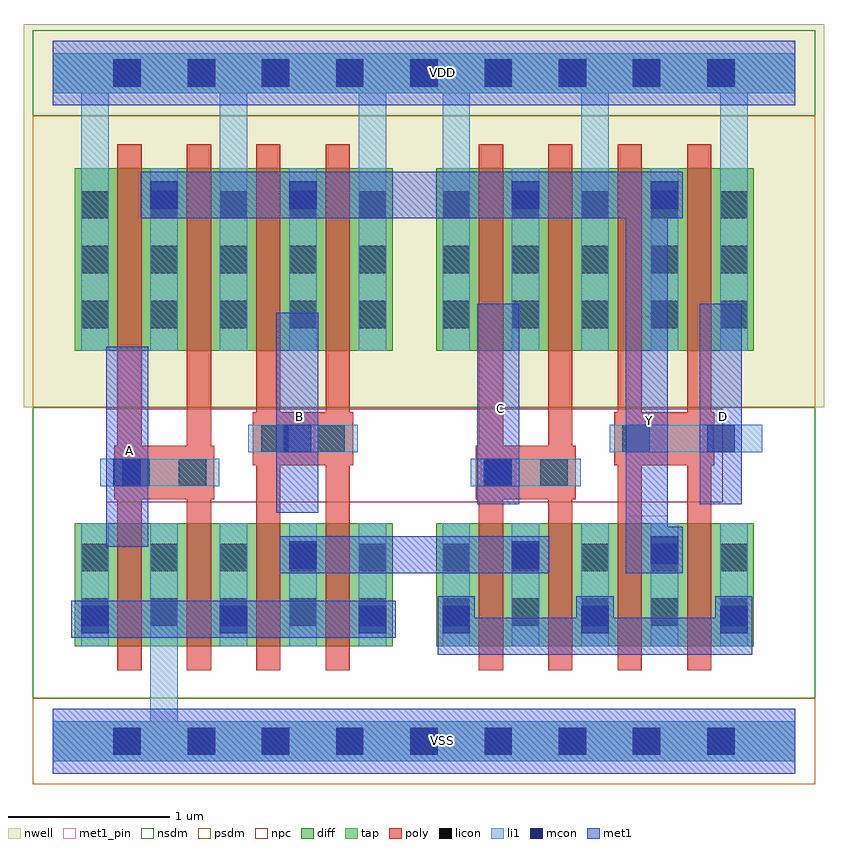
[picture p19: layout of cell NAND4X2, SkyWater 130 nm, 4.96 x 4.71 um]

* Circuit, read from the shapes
.subckt NAND4X2 A B C D VDD VSS Y
XM1 VSS A n1 VSS sky130_fd_pr__nfet_01v8 w=0.76 l=0.15 m=2
XM2 n2 B n1 VSS sky130_fd_pr__nfet_01v8 w=0.76 l=0.15 m=2
XM3 n2 C n3 VSS sky130_fd_pr__nfet_01v8 w=0.76 l=0.15 m=2
XM4 Y D n3 VSS sky130_fd_pr__nfet_01v8 w=0.76 l=0.15 m=2
XM5 Y A VDD VDD sky130_fd_pr__pfet_01v8 w=1.13 l=0.15 m=2
XM6 Y B VDD VDD sky130_fd_pr__pfet_01v8 w=1.13 l=0.15 m=2
XM7 Y C VDD VDD sky130_fd_pr__pfet_01v8 w=1.13 l=0.15 m=2
XM8 Y D VDD VDD sky130_fd_pr__pfet_01v8 w=1.13 l=0.15 m=2
.ends

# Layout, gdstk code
import gdstk
lib = gdstk.Library(unit=1e-6, precision=1e-09)
def R(c, l, rs):  # rectangles x0, y0, x1, y1
    for r in rs: c.add(gdstk.rectangle(r[:2], r[2:], *l))
def A(c, l, x, y, w, h, nx, ny, dx, dy):  # array of equal rectangles
    R(c, l, [(x+i*dx, y+j*dy, x+i*dx+w, y+j*dy+h) for i in range(nx) for j in range(ny)])
nwell = (64, 20)
diff = (65, 20)
tap = (65, 44)
poly = (66, 20)
licon = (66, 44)
li1 = (67, 20)
mcon = (67, 44)
met1_pin = (68, 16)
met1 = (68, 20)
nsdm = (93, 44)
psdm = (94, 20)
npc = (95, 20)

nfet_01v8_cdns_716492285 = lib.new_cell('nfet_01v8_CDNS_71649228522125')
R(nfet_01v8_cdns_716492285, diff, [(-0.055,0,0,0.76), (0,0,0.15,0.76), (0.15,0,0.43,0.76), (0.43,0,0.58,0.76), (0.58,0,0.845,0.76)])
R(nfet_01v8_cdns_716492285, poly, [(0,-0.15,0.15,-0.095), (0.43,-0.15,0.58,-0.095), (0,-0.095,0.15,0), (0.43,-0.095,0.58,0), (0,0,0.15,0.76), (0.43,0,0.58,0.76), (0,0.76,0.15,0.855), (0.43,0.76,0.58,0.855), (0,0.855,0.15,0.91), (0.43,0.855,0.58,0.91)])
R(nfet_01v8_cdns_716492285, licon, [(0.205,0.125,0.375,0.295), (0.635,0.125,0.805,0.295), (0.205,0.465,0.375,0.635), (0.635,0.465,0.805,0.635)])
R(nfet_01v8_cdns_716492285, li1, [(0.205,0,0.375,0.76), (0.635,0,0.805,0.76)])
R(nfet_01v8_cdns_716492285, nsdm, [(-0.065,-0.13,0.985,0.89)])

pfet_01v8_cdns_716492285 = lib.new_cell('pfet_01v8_CDNS_71649228522122')
R(pfet_01v8_cdns_716492285, nwell, [(-0.235,-0.18,1.025,1.31)])
R(pfet_01v8_cdns_716492285, diff, [(-0.055,0,0,1.13), (0,0,0.15,1.13), (0.15,0,0.43,1.13), (0.43,0,0.58,1.13), (0.58,0,0.845,1.13)])
R(pfet_01v8_cdns_716492285, poly, [(0,-0.15,0.15,-0.095), (0.43,-0.15,0.58,-0.095), (0,-0.095,0.15,0), (0.43,-0.095,0.58,0), (0,0,0.15,1.13), (0.43,0,0.58,1.13), (0,1.13,0.15,1.225), (0.43,1.13,0.58,1.225), (0,1.225,0.15,1.28), (0.43,1.225,0.58,1.28)])
A(pfet_01v8_cdns_716492285, licon, 0.205, 0.14, 0.17, 0.17, 1, 3, 0, 0.34)
A(pfet_01v8_cdns_716492285, licon, 0.635, 0.14, 0.17, 0.17, 1, 3, 0, 0.34)
R(pfet_01v8_cdns_716492285, li1, [(0.205,0,0.375,1.13), (0.635,0,0.805,1.13)])
R(pfet_01v8_cdns_716492285, psdm, [(-0.065,-0.13,0.985,1.26)])

c_pfet_01v8_cdns_716492285 = lib.new_cell('pfet_01v8_CDNS_7164922852267')
R(c_pfet_01v8_cdns_716492285, nwell, [(-0.445,-0.18,0.985,1.31)])
R(c_pfet_01v8_cdns_716492285, diff, [(-0.265,0,0,1.13), (0,0,0.15,1.13), (0.15,0,0.43,1.13), (0.43,0,0.58,1.13), (0.58,0,0.805,1.13)])
R(c_pfet_01v8_cdns_716492285, poly, [(0,-0.15,0.15,-0.095), (0.43,-0.15,0.58,-0.095), (0,-0.095,0.15,0), (0.43,-0.095,0.58,0), (0,0,0.15,1.13), (0.43,0,0.58,1.13), (0,1.13,0.15,1.225), (0.43,1.13,0.58,1.225), (0,1.225,0.15,1.28), (0.43,1.225,0.58,1.28)])
A(c_pfet_01v8_cdns_716492285, licon, -0.225, 0.14, 0.17, 0.17, 3, 3, 0.43, 0.34)
A(c_pfet_01v8_cdns_716492285, li1, -0.225, 0, 0.17, 1.13, 3, 1, 0.43, 0)
R(c_pfet_01v8_cdns_716492285, psdm, [(-0.405,-0.13,0.815,1.26)])

c_pfet_01v8_cdns_716492285_ = lib.new_cell('pfet_01v8_CDNS_71649228522141')
R(c_pfet_01v8_cdns_716492285_, nwell, [(-0.405,-0.18,1.025,1.31)])
R(c_pfet_01v8_cdns_716492285_, diff, [(-0.225,0,0,1.13), (0,0,0.15,1.13), (0.15,0,0.43,1.13), (0.43,0,0.58,1.13), (0.58,0,0.845,1.13)])
R(c_pfet_01v8_cdns_716492285_, poly, [(0,-0.15,0.15,-0.095), (0.43,-0.15,0.58,-0.095), (0,-0.095,0.15,0), (0.43,-0.095,0.58,0), (0,0,0.15,1.13), (0.43,0,0.58,1.13), (0,1.13,0.15,1.225), (0.43,1.13,0.58,1.225), (0,1.225,0.15,1.28), (0.43,1.225,0.58,1.28)])
A(c_pfet_01v8_cdns_716492285_, licon, -0.225, 0.14, 0.17, 0.17, 3, 3, 0.43, 0.34)
A(c_pfet_01v8_cdns_716492285_, li1, -0.225, 0, 0.17, 1.13, 3, 1, 0.43, 0)
R(c_pfet_01v8_cdns_716492285_, psdm, [(-0.235,-0.13,0.985,1.26)])

c_nfet_01v8_cdns_716492285 = lib.new_cell('nfet_01v8_CDNS_71649228522124')
R(c_nfet_01v8_cdns_716492285, diff, [(-0.265,0,0,0.76), (0,0,0.15,0.76), (0.15,0,0.43,0.76), (0.43,0,0.58,0.76), (0.58,0,0.805,0.76)])
R(c_nfet_01v8_cdns_716492285, poly, [(0,-0.15,0.15,-0.095), (0.43,-0.15,0.58,-0.095), (0,-0.095,0.15,0), (0.43,-0.095,0.58,0), (0,0,0.15,0.76), (0.43,0,0.58,0.76), (0,0.76,0.15,0.855), (0.43,0.76,0.58,0.855), (0,0.855,0.15,0.91), (0.43,0.855,0.58,0.91)])
A(c_nfet_01v8_cdns_716492285, licon, -0.225, 0.125, 0.17, 0.17, 3, 2, 0.43, 0.34)
A(c_nfet_01v8_cdns_716492285, li1, -0.225, 0, 0.17, 0.76, 3, 1, 0.43, 0)
R(c_nfet_01v8_cdns_716492285, nsdm, [(-0.405,-0.13,0.815,0.89)])

c_pfet_01v8_cdns_716492285__ = lib.new_cell('pfet_01v8_CDNS_71649228522138')
R(c_pfet_01v8_cdns_716492285__, nwell, [(-0.445,-0.18,0.815,1.31)])
R(c_pfet_01v8_cdns_716492285__, diff, [(-0.265,0,0,1.13), (0,0,0.15,1.13), (0.15,0,0.43,1.13), (0.43,0,0.58,1.13), (0.58,0,0.635,1.13)])
R(c_pfet_01v8_cdns_716492285__, poly, [(0,-0.15,0.15,-0.095), (0.43,-0.15,0.58,-0.095), (0,-0.095,0.15,0), (0.43,-0.095,0.58,0), (0,0,0.15,1.13), (0.43,0,0.58,1.13), (0,1.13,0.15,1.225), (0.43,1.13,0.58,1.225), (0,1.225,0.15,1.28), (0.43,1.225,0.58,1.28)])
A(c_pfet_01v8_cdns_716492285__, licon, -0.225, 0.14, 0.17, 0.17, 1, 3, 0, 0.34)
A(c_pfet_01v8_cdns_716492285__, licon, 0.205, 0.14, 0.17, 0.17, 1, 3, 0, 0.34)
R(c_pfet_01v8_cdns_716492285__, li1, [(-0.225,0,-0.055,1.13), (0.205,0,0.375,1.13)])
R(c_pfet_01v8_cdns_716492285__, psdm, [(-0.405,-0.13,0.645,1.26)])

l1m1_c_cdns_716492285226 = lib.new_cell('L1M1_C_CDNS_716492285226')
R(l1m1_c_cdns_716492285226, li1, [(-0.085,-0.165,0.085,0.165)])
R(l1m1_c_cdns_716492285226, mcon, [(-0.085,-0.085,0.085,0.085)])
R(l1m1_c_cdns_716492285226, met1, [(-0.145,-0.115,0.145,0.115)])

pyl1con_c_cdns_716492285 = lib.new_cell('PYL1CON_C_CDNS_716492285220')
R(pyl1con_c_cdns_716492285, poly, [(-0.135,-0.165,0.135,0.165)])
R(pyl1con_c_cdns_716492285, licon, [(-0.085,-0.085,0.085,0.085)])
R(pyl1con_c_cdns_716492285, npc, [(-0.185,-0.185,0.185,0.185)])

l1m1_c_cdns_716492285223 = lib.new_cell('L1M1_C_CDNS_716492285223')
R(l1m1_c_cdns_716492285223, li1, [(-0.165,-0.085,0.165,0.085)])
R(l1m1_c_cdns_716492285223, mcon, [(-0.085,-0.085,0.085,0.085)])
R(l1m1_c_cdns_716492285223, met1, [(-0.115,-0.145,0.115,0.145)])

l1m1_c_cdns_716492285222 = lib.new_cell('L1M1_C_CDNS_716492285222')
R(l1m1_c_cdns_716492285222, li1, [(-0.085,-0.165,0.085,0.165)])
R(l1m1_c_cdns_716492285222, mcon, [(-0.085,-0.085,0.085,0.085)])
R(l1m1_c_cdns_716492285222, met1, [(-0.115,-0.145,0.115,0.145)])

nand4x2 = lib.new_cell('NAND4X2')
R(nand4x2, nwell, [(-0.18,2.07,4.78,4.305), (-0.18,3.875,4.78,4.445)])
A(nand4x2, licon, 0.375, -0.085, 0.17, 0.17, 9, 2, 0.46, 4.14)
A(nand4x2, mcon, 0.375, -0.085, 0.17, 0.17, 9, 2, 0.46, 4.14)
R(nand4x2, met1_pin, [(0.33,1.205,0.59,2.445), (3.55,1.395,3.81,2.635), (1.385,1.415,1.645,2.655), (2.63,1.47,2.89,2.71), (4.01,1.47,4.27,2.71)])
R(nand4x2, nsdm, [(-0.125,0.265,4.725,2.07), (-0.125,3.875,4.725,4.405), (-0.125,3.93,4.725,4.35)])
R(nand4x2, psdm, [(-0.125,-0.265,4.725,0.265), (-0.125,-0.21,4.725,0.21), (-0.125,2.07,4.725,3.875)])
R(nand4x2, npc, [(0.33,1.48,4.15,2.06)])
nand4x2.add(gdstk.FlexPath([(3.575,2.27),(3.575,1.5)], 0.15, ends="flush", simple_path=True, layer=66, datatype=20))  # poly
nand4x2.add(gdstk.FlexPath([(3.48,1.875),(4.1,1.875)], 0.33, ends="flush", simple_path=True, layer=66, datatype=20))  # poly
nand4x2.add(gdstk.FlexPath([(4.005,2.27),(4.005,1.5)], 0.15, ends="flush", simple_path=True, layer=66, datatype=20))  # poly
nand4x2.add(gdstk.FlexPath([(2.62,1.665),(3.24,1.665)], 0.33, ends="flush", simple_path=True, layer=66, datatype=20))  # poly
nand4x2.add(gdstk.FlexPath([(2.715,2.27),(2.715,1.5)], 0.15, ends="flush", simple_path=True, layer=66, datatype=20))  # poly
nand4x2.add(gdstk.FlexPath([(1.765,2.27),(1.765,1.5)], 0.15, ends="flush", simple_path=True, layer=66, datatype=20))  # poly
nand4x2.add(gdstk.FlexPath([(1.335,2.27),(1.335,1.5)], 0.15, ends="flush", simple_path=True, layer=66, datatype=20))  # poly
nand4x2.add(gdstk.FlexPath([(0.38,1.665),(1,1.665)], 0.33, ends="flush", simple_path=True, layer=66, datatype=20))  # poly
nand4x2.add(gdstk.FlexPath([(0.475,2.27),(0.475,1.5)], 0.15, ends="flush", simple_path=True, layer=66, datatype=20))  # poly
nand4x2.add(gdstk.FlexPath([(0.905,2.27),(0.905,1.5)], 0.15, ends="flush", simple_path=True, layer=66, datatype=20))  # poly
nand4x2.add(gdstk.FlexPath([(1.24,1.875),(1.86,1.875)], 0.33, ends="flush", simple_path=True, layer=66, datatype=20))  # poly
nand4x2.add(gdstk.FlexPath([(3.145,2.27),(3.145,1.5)], 0.15, ends="flush", simple_path=True, layer=66, datatype=20))  # poly
nand4x2.add(gdstk.FlexPath([(1.21,1.875),(1.89,1.875)], 0.17, ends="flush", simple_path=True, layer=67, datatype=20))  # li1
nand4x2.add(gdstk.FlexPath([(0.35,1.665),(1.03,1.665)], 0.17, ends="flush", simple_path=True, layer=67, datatype=20))  # li1
nand4x2.add(gdstk.FlexPath([(2.59,1.665),(3.27,1.665)], 0.17, ends="flush", simple_path=True, layer=67, datatype=20))  # li1
nand4x2.add(gdstk.FlexPath([(3.45,1.875),(4.395,1.875)], 0.17, ends="flush", simple_path=True, layer=67, datatype=20))  # li1
nand4x2.add(gdstk.FlexPath([(4.22,3.495),(4.22,4.265)], 0.17, ends="flush", simple_path=True, layer=67, datatype=20))  # li1
nand4x2.add(gdstk.FlexPath([(3.36,3.495),(3.36,4.265)], 0.17, ends="flush", simple_path=True, layer=67, datatype=20))  # li1
nand4x2.add(gdstk.FlexPath([(1.98,3.495),(1.98,4.265)], 0.17, ends="flush", simple_path=True, layer=67, datatype=20))  # li1
nand4x2.add(gdstk.FlexPath([(1.12,3.495),(1.12,4.265)], 0.17, ends="flush", simple_path=True, layer=67, datatype=20))  # li1
nand4x2.add(gdstk.FlexPath([(0.26,3.495),(0.26,4.265)], 0.17, ends="flush", simple_path=True, layer=67, datatype=20))  # li1
nand4x2.add(gdstk.FlexPath([(0.69,0.65),(0.69,-0.125)], 0.17, ends="flush", simple_path=True, layer=67, datatype=20))  # li1
nand4x2.add(gdstk.FlexPath([(4.34,4.14),(4.6,4.14)], 0.25, ends=(0.085, 0), simple_path=True, layer=67, datatype=20))  # li1
nand4x2.add(gdstk.FlexPath([(0.69,4.14),(2.47,4.14)], 0.25, ends=(0.085, 0.085), simple_path=True, layer=67, datatype=20))  # li1
nand4x2.add(gdstk.FlexPath([(3.42,4.14),(4.34,4.14)], 0.25, ends=(0.085, 0.085), simple_path=True, layer=67, datatype=20))  # li1
nand4x2.add(gdstk.FlexPath([(0,4.14),(0.69,4.14)], 0.25, ends=(0, 0.085), simple_path=True, layer=67, datatype=20))  # li1
nand4x2.add(gdstk.FlexPath([(2.47,4.14),(3.42,4.14)], 0.25, ends=(0.085, 0.085), simple_path=True, layer=67, datatype=20))  # li1
nand4x2.add(gdstk.FlexPath([(2.5,3.495),(2.5,4.265)], 0.17, ends="flush", simple_path=True, layer=67, datatype=20))  # li1
nand4x2.add(gdstk.FlexPath([(2.47,0),(3.42,0)], 0.25, ends=(0.085, 0.085), simple_path=True, layer=67, datatype=20))  # li1
nand4x2.add(gdstk.FlexPath([(0,0),(0.69,0)], 0.25, ends=(0, 0.085), simple_path=True, layer=67, datatype=20))  # li1
nand4x2.add(gdstk.FlexPath([(3.42,0),(4.34,0)], 0.25, ends=(0.085, 0.085), simple_path=True, layer=67, datatype=20))  # li1
nand4x2.add(gdstk.FlexPath([(0.69,0),(2.47,0)], 0.25, ends=(0.085, 0.085), simple_path=True, layer=67, datatype=20))  # li1
nand4x2.add(gdstk.FlexPath([(4.34,0),(4.6,0)], 0.25, ends=(0.085, 0), simple_path=True, layer=67, datatype=20))  # li1
nand4x2.add(gdstk.FlexPath([(4.335,0.65),(2.385,0.65)], 0.23, ends="flush", simple_path=True, layer=68, datatype=20))  # met1
nand4x2.add(gdstk.FlexPath([(0.46,1.205),(0.46,2.445)], 0.26, ends="flush", simple_path=True, layer=68, datatype=20))  # met1
nand4x2.add(gdstk.FlexPath([(1.515,1.415),(1.515,2.655)], 0.26, ends="flush", simple_path=True, layer=68, datatype=20))  # met1
nand4x2.add(gdstk.FlexPath([(2.76,1.47),(2.76,2.71)], 0.26, ends="flush", simple_path=True, layer=68, datatype=20))  # met1
nand4x2.add(gdstk.FlexPath([(3.68,1.04),(3.68,3.53)], 0.26, ends="flush", simple_path=True, layer=68, datatype=20))  # met1
nand4x2.add(gdstk.FlexPath([(4.14,1.47),(4.14,2.71)], 0.26, ends="flush", simple_path=True, layer=68, datatype=20))  # met1
nand4x2.add(gdstk.FlexPath([(3.905,3.385),(0.69,3.385)], 0.29, ends=(0, 0.145), simple_path=True, layer=68, datatype=20))  # met1
nand4x2.add(gdstk.FlexPath([(1.98,0.755),(0.26,0.755)], 0.23, ends="flush", simple_path=True, layer=68, datatype=20))  # met1
nand4x2.add(gdstk.FlexPath([(3.075,1.155),(1.405,1.155)], 0.23, ends="flush", simple_path=True, layer=68, datatype=20))  # met1
nand4x2.add(gdstk.FlexPath([(0,4.14),(4.6,4.14)], 0.4, ends="flush", simple_path=True, layer=68, datatype=20))  # met1
nand4x2.add(gdstk.FlexPath([(0,0),(4.6,0)], 0.4, ends="flush", simple_path=True, layer=68, datatype=20))  # met1
nand4x2.add(gdstk.FlexPath([(0,4.14),(4.6,4.14)], 0.4, ends="flush", simple_path=True, layer=68, datatype=16))  # met1_pin
nand4x2.add(gdstk.FlexPath([(0,0),(4.6,0)], 0.4, ends="flush", simple_path=True, layer=68, datatype=16))  # met1_pin
nand4x2.add(gdstk.FlexPath([(0,0),(4.6,0)], 0.25, ends="flush", simple_path=True, layer=65, datatype=44))  # tap
nand4x2.add(gdstk.FlexPath([(0,4.14),(4.6,4.14)], 0.25, ends="flush", simple_path=True, layer=65, datatype=44))  # tap
nand4x2.add(gdstk.Reference(nfet_01v8_cdns_716492285, (1.26,0.59)))
nand4x2.add(gdstk.Reference(nfet_01v8_cdns_716492285, (3.5,0.59)))
nand4x2.add(gdstk.Reference(pfet_01v8_cdns_716492285, (1.26,2.42)))
nand4x2.add(gdstk.Reference(c_pfet_01v8_cdns_716492285, (0.4,2.42)))
nand4x2.add(gdstk.Reference(c_pfet_01v8_cdns_716492285_, (3.5,2.42)))
nand4x2.add(gdstk.Reference(c_nfet_01v8_cdns_716492285, (2.64,0.59)))
nand4x2.add(gdstk.Reference(c_nfet_01v8_cdns_716492285, (0.4,0.59)))
nand4x2.add(gdstk.Reference(c_pfet_01v8_cdns_716492285__, (2.64,2.42)))
nand4x2.add(gdstk.Reference(l1m1_c_cdns_716492285226, (1.55,1.155)))
nand4x2.add(gdstk.Reference(l1m1_c_cdns_716492285226, (2.93,1.155)))
nand4x2.add(gdstk.Reference(l1m1_c_cdns_716492285226, (1.98,0.755)))
nand4x2.add(gdstk.Reference(l1m1_c_cdns_716492285226, (1.12,0.755)))
nand4x2.add(gdstk.Reference(l1m1_c_cdns_716492285226, (0.26,0.755)))
nand4x2.add(gdstk.Reference(pyl1con_c_cdns_716492285, (2.755,1.665)))
nand4x2.add(gdstk.Reference(pyl1con_c_cdns_716492285, (3.105,1.665)))
nand4x2.add(gdstk.Reference(pyl1con_c_cdns_716492285, (3.615,1.875)))
nand4x2.add(gdstk.Reference(pyl1con_c_cdns_716492285, (0.515,1.665)))
nand4x2.add(gdstk.Reference(pyl1con_c_cdns_716492285, (1.375,1.875)))
nand4x2.add(gdstk.Reference(pyl1con_c_cdns_716492285, (1.725,1.875)))
nand4x2.add(gdstk.Reference(pyl1con_c_cdns_716492285, (0.865,1.665)))
nand4x2.add(gdstk.Reference(l1m1_c_cdns_716492285223, (4.14,1.875), x_reflection=True))
nand4x2.add(gdstk.Reference(l1m1_c_cdns_716492285223, (2.76,1.665), x_reflection=True))
nand4x2.add(gdstk.Reference(l1m1_c_cdns_716492285223, (1.515,1.875), x_reflection=True))
nand4x2.add(gdstk.Reference(l1m1_c_cdns_716492285223, (0.46,1.665), x_reflection=True))
nand4x2.add(gdstk.Reference(l1m1_c_cdns_716492285222, (3.36,0.755)))
nand4x2.add(gdstk.Reference(l1m1_c_cdns_716492285222, (3.79,3.385)))
nand4x2.add(gdstk.Reference(l1m1_c_cdns_716492285222, (3.79,1.185)))
nand4x2.add(gdstk.Reference(l1m1_c_cdns_716492285222, (2.93,3.385)))
nand4x2.add(gdstk.Reference(l1m1_c_cdns_716492285222, (1.55,3.385)))
nand4x2.add(gdstk.Reference(l1m1_c_cdns_716492285222, (0.69,3.385)))
nand4x2.add(gdstk.Reference(l1m1_c_cdns_716492285222, (4.22,0.755)))
nand4x2.add(gdstk.Reference(l1m1_c_cdns_716492285222, (2.5,0.755)))
nand4x2.add(gdstk.Label('D', (4.155,2.01), layer=68, texttype=5))
nand4x2.add(gdstk.Label('Y', (3.695,1.99), layer=68, texttype=5))
nand4x2.add(gdstk.Label('B', (1.53,2.01), layer=68, texttype=5))
nand4x2.add(gdstk.Label('A', (0.475,1.8), layer=68, texttype=5))
nand4x2.add(gdstk.Label('C', (2.775,2.065), layer=68, texttype=5))
nand4x2.add(gdstk.Label('VDD', (2.415,4.145), layer=68, texttype=5))
nand4x2.add(gdstk.Label('VSS', (2.415,0.005), layer=68, texttype=5))

lib.write_gds('NAND4X2.gds')
